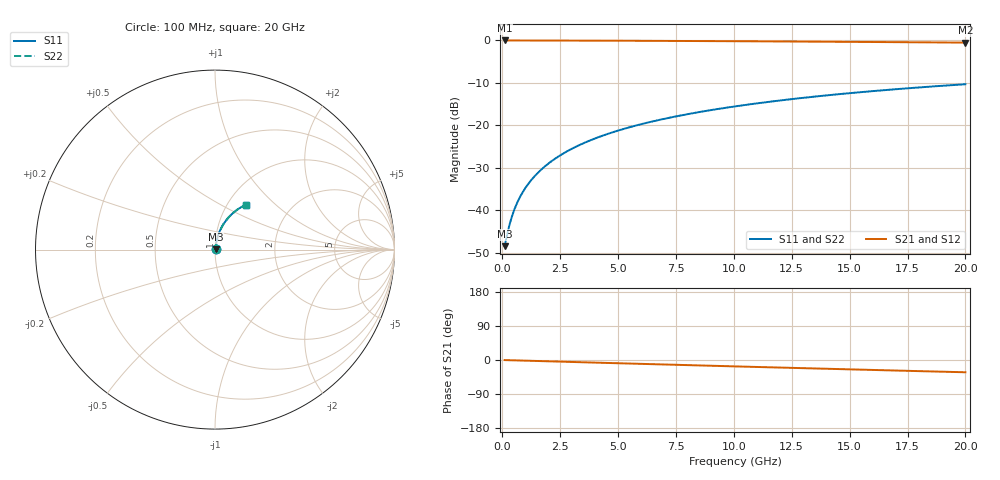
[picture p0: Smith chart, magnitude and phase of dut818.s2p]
! Touchstone file exported from HFSS 2026.1.0
!  File:  C:/ffzhzh/LocalFiles/Ansys_Project_Files/temp_train_TMRDL_818_1783156427_22436.aedt
!  Generated:  05:14:58 PM Jul  4, 2026
!  Design:  TMRDL
!  Project:  temp_train_TMRDL_818_1783156427_22436
! Variables:
!  h_bsmrdl = 2um
!  h_ox = 20um
!  h_rdl = 5um
!  h_sub = 80um
!  h_tmrdl = 4.54um
!  h_tsv = 80um
!  h_via = 3um
!  l_bsmrdl = 300um
!  l_sub = 880.1um
!  l_tmrdl = 480.1um
!  m_sub = 200um
!  pitch = 30.1um
!  r_tsv = 6um
!  s_tmrdl = 10um
!  w_bsmrdl = 18um
!  w_sub = 500um
!  w_tmrdl = 11.72um
!  x_tsv_center1 = 485.96um
!  x_tsv_center2 = 803.96um
!  x_tsv_center3 = 1295.78um
!  x_tsv_center4 = 1613.78um
!  x_tsv_center5 = 2105.6um
!  x_tsv_center6 = 2423.6um
# GHz S MA R 50.000000
! Terminal data exported
! Port[1] = TM_RDL1_1_T1
! Port[2] = TM_RDL1_1_T2
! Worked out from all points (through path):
!   200 points, 100 MHz to 20 GHz, reference 50 ohm
!   highest |S21| = -0.03 dB at 100 MHz (marker M1); lowest = -0.5 dB at 20 GHz (marker M2)
!   group delay of S21, straight-line fit = 4.49 ps
!   lowest |S11| = -48.5 dB at 100 MHz (marker M3), VSWR 1.01, Z = 50.3 + j0.19 ohm
!   |S11| at or under -10 dB: start of sweep to end of sweep
!   |S22| runs from -48.5 to -10.3 dB; largest |S21 - S12| = 2.2e-15
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0.1  0.003774 30.0  0.9967 -0.2  0.9967 -0.2  0.003774 30.0
! Gamma 0 0 0 0
! Port Impedance 50 0 50 0
0.3  0.006556 58.0  0.9966 -0.5  0.9966 -0.5  0.006555 58.0
0.4  0.008179 63.8  0.9965 -0.7  0.9965 -0.7  0.008179 63.8
0.5  0.009839 67.7  0.9964 -0.9  0.9964 -0.9  0.009838 67.7
0.6  0.01152 70.4  0.9963 -1.1  0.9963 -1.1  0.01152 70.4
0.8  0.0149 73.9  0.9961 -1.4  0.9961 -1.4  0.0149 73.9
1  0.01832 76.0  0.996 -1.7  0.996 -1.7  0.01832 76.0
1.2  0.02176 77.4  0.9958 -2.1  0.9958 -2.1  0.02176 77.4
1.4  0.02521 78.3  0.9957 -2.4  0.9957 -2.4  0.02521 78.3
1.7  0.0304 79.2  0.9954 -3.0  0.9954 -3.0  0.0304 79.2
2.2  0.03905 79.7  0.9949 -3.8  0.9949 -3.8  0.03905 79.7
2.8  0.0494 79.7  0.9941 -4.8  0.9941 -4.8  0.0494 79.7
3.5  0.06137 79.2  0.993 -6.0  0.993 -6.0  0.06137 79.2
4.2  0.07323 78.4  0.9917 -7.2  0.9917 -7.2  0.07323 78.4
5  0.08661 77.3  0.9901 -8.6  0.9901 -8.6  0.08661 77.3
5.9  0.1014 76.1  0.9881 -10.1  0.9881 -10.1  0.1014 76.1
6.8  0.116 74.8  0.9859 -11.6  0.9859 -11.6  0.116 74.8
8.3  0.1398 72.5  0.9818 -14.0  0.9818 -14.0  0.1398 72.5
10.1  0.1676 69.8  0.9765 -17.0  0.9765 -17.0  0.1676 69.9
13.4  0.2163 64.9  0.9656 -22.2  0.9656 -22.2  0.2163 64.9
16.7  0.2619 60.1  0.9533 -27.4  0.9533 -27.4  0.2619 60.1
20  0.3042 55.3  0.9401 -32.4  0.9401 -32.4  0.3042 55.3
